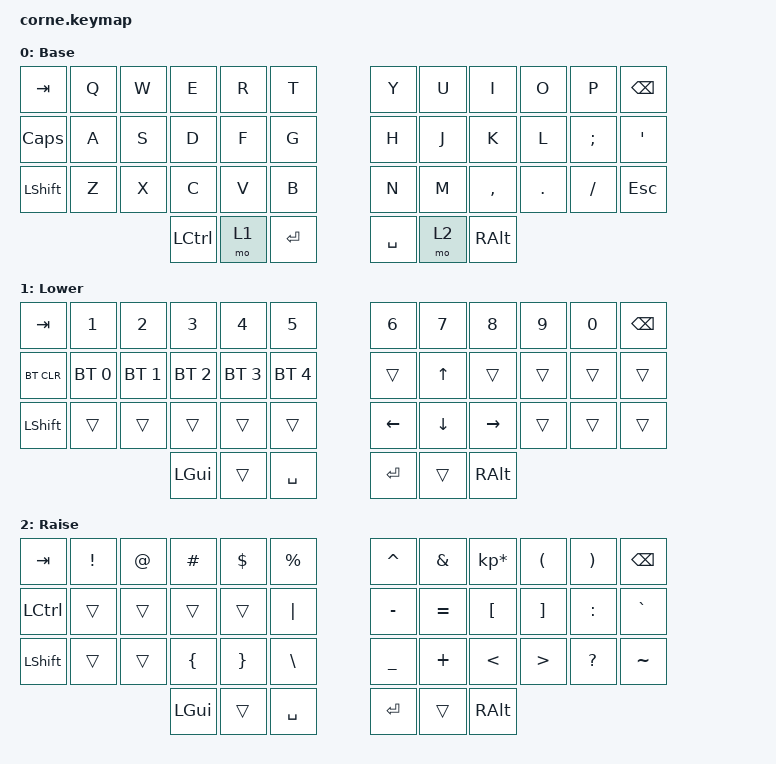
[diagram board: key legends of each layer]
/*
 * Copyright (c) 2020 The ZMK Contributors
 *
 * SPDX-License-Identifier: MIT
 */

#include <behaviors.dtsi>
#include <dt-bindings/zmk/bt.h>
#include <dt-bindings/zmk/keys.h>

/ {
    keymap {
        compatible = "zmk,keymap";

        default_layer {
            // -----------------------------------------------------------------------------------------
            // |  TAB |  Q  |  W  |  E  |  R  |  T  |   |  Y  |  U   |  I  |  O  |  P  | BKSP |
            // | CTRL |  A  |  S  |  D  |  F  |  G  |   |  H  |  J   |  K  |  L  |  ;  |  '   |
            // | SHFT |  Z  |  X  |  C  |  V  |  B  |   |  N  |  M   |  ,  |  .  |  /  | ESC  |
            //                    | GUI | LWR | SPC |   | ENT | RSE  | ALT |

            display-name = "Base";
            bindings = <
&kp TAB       &kp Q  &kp W  &kp E      &kp R  &kp T         &kp Y      &kp U  &kp I      &kp O    &kp P     &kp BSPC
&kp CAPSLOCK  &kp A  &kp S  &kp D      &kp F  &kp G         &kp H      &kp J  &kp K      &kp L    &kp SEMI  &kp SQT
&kp LSHFT     &kp Z  &kp X  &kp C      &kp V  &kp B         &kp N      &kp M  &kp COMMA  &kp DOT  &kp FSLH  &kp ESC
                            &kp LCTRL  &mo 1  &kp RETURN    &kp SPACE  &mo 2  &kp RALT
            >;
        };

        lower_layer {
            // -----------------------------------------------------------------------------------------
            // |  TAB |  1  |  2  |  3  |  4  |  5  |   |  6  |  7  |  8  |  9  |  0  | BKSP |
            // | BTCLR| BT1 | BT2 | BT3 | BT4 | BT5 |   | LFT | DWN |  UP | RGT |     |      |
            // | SHFT |     |     |     |     |     |   |     |     |     |     |     |      |
            //                    | GUI |     | SPC |   | ENT |     | ALT |

            display-name = "Lower";
            bindings = <
&kp TAB     &kp N1        &kp N2        &kp N3        &kp N4        &kp N5          &kp N6          &kp N7          &kp N8           &kp N9  &kp N0  &kp BSPC
&bt BT_CLR  &bt BT_SEL 0  &bt BT_SEL 1  &bt BT_SEL 2  &bt BT_SEL 3  &bt BT_SEL 4    &trans          &kp UP_ARROW    &trans           &trans  &trans  &trans
&kp LSHFT   &trans        &trans        &trans        &trans        &trans          &kp LEFT_ARROW  &kp DOWN_ARROW  &kp RIGHT_ARROW  &trans  &trans  &trans
                                        &kp LGUI      &trans        &kp SPACE       &kp RET         &trans          &kp RALT
            >;
        };

        raise_layer {
            // -----------------------------------------------------------------------------------------
            // |  TAB |  !  |  @  |  #  |  $  |  %  |   |  ^  |  &  |  *  |  (  |  )  | BKSP |
            // | CTRL |     |     |     |     |     |   |  -  |  =  |  [  |  ]  |  \  |  `   |
            // | SHFT |     |     |     |     |     |   |  _  |  +  |  {  |  }  | "|" |  ~   |
            //                    | GUI |     | SPC |   | ENT |     | ALT |

            display-name = "Raise";
            bindings = <
&kp TAB    &kp EXCL  &kp AT  &kp HASH        &kp DLLR         &kp PRCNT        &kp CARET  &kp AMPS   &kp KP_MULTIPLY  &kp LPAR          &kp RPAR      &kp BSPC
&kp LCTRL  &trans    &trans  &trans          &trans           &kp PIPE         &kp MINUS  &kp EQUAL  &kp LBKT         &kp RBKT          &kp COLON     &kp GRAVE
&kp LSHFT  &trans    &trans  &kp LEFT_BRACE  &kp RIGHT_BRACE  &kp BACKSLASH    &kp UNDER  &kp PLUS   &kp LESS_THAN    &kp GREATER_THAN  &kp QUESTION  &kp TILDE
                             &kp LGUI        &trans           &kp SPACE        &kp RET    &trans     &kp RALT
            >;
        };
    };
};
